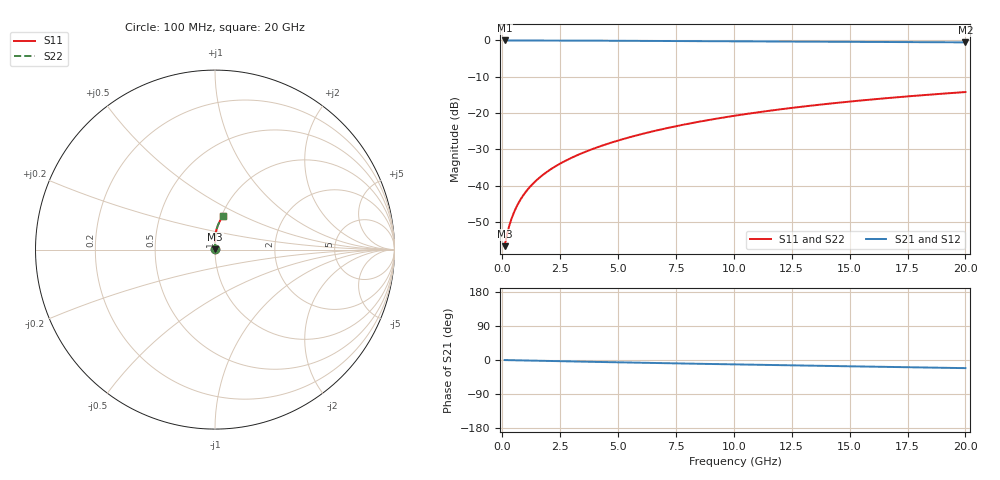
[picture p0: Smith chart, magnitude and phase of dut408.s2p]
! Touchstone file exported from HFSS 2024.1.0
!  File:  C:/UserFiles/LocalFiles/RDL_TSV_Batchsim/temp_RDL_top_408_1779675540.aedt
!  Generated:  10:21:07 AM May 25, 2026
!  Design:  RDL_top
!  Project:  temp_RDL_top_408_1779675540
!  Setup:  Setup1
!  Solution:  Sweep
! Variables:
!  dtsv = 10.80580581um
!  hbump = 3um
!  htsv = 83.25um
!  ldown = 100um
!  lrdl = 308.3um
!  p = 40
!  p1 = 46.08um
!  rhole = 1um
!  t = 450um
!  tdown = 3.915915916um
!  trdl = 4.59um
!  wdown = 15.38538539um
!  wrdl = 24.2um
# GHz S MA R 50.000000
! Terminal data exported
! Port[1] = Box2_T1
! Port[2] = Box2_T2
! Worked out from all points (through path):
!   200 points, 100 MHz to 20 GHz, reference 50 ohm
!   highest |S21| = -0.01 dB at 100 MHz (marker M1); lowest = -0.5 dB at 20 GHz (marker M2)
!   group delay of S21, straight-line fit = 2.94 ps
!   lowest |S11| = -56.6 dB at 100 MHz (marker M3), VSWR 1.00, Z = 50.1 + j0.0911 ohm
!   |S11| at or under -10 dB: start of sweep to end of sweep
!   |S22| runs from -56.6 to -14.2 dB; largest |S21 - S12| = 3.1e-15
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0.1  0.00148 37.9  0.9988 -0.1  0.9988 -0.1  0.00148 37.9
! Gamma 0 0 0 0
! Port Impedance 50 0 50 0
0.2  0.002127 54.1  0.9987 -0.3  0.9987 -0.3  0.002127 54.1
0.3  0.002819 62.8  0.9986 -0.4  0.9986 -0.4  0.002819 62.8
0.4  0.00354 68.3  0.9985 -0.5  0.9985 -0.5  0.003539 68.3
0.5  0.004282 72.1  0.9985 -0.6  0.9985 -0.6  0.004282 72.1
0.6  0.005039 74.9  0.9984 -0.8  0.9984 -0.8  0.005039 74.9
0.8  0.006582 78.6  0.9982 -1.0  0.9982 -1.0  0.006582 78.6
1.1  0.008935 81.8  0.9979 -1.4  0.9979 -1.4  0.008935 81.8
1.5  0.01212 84.3  0.9974 -1.9  0.9974 -1.9  0.01212 84.3
1.8  0.01452 85.6  0.997 -2.3  0.997 -2.3  0.01452 85.6
2.1  0.01695 86.5  0.9965 -2.7  0.9965 -2.7  0.01695 86.5
2.7  0.02189 87.8  0.9952 -3.4  0.9952 -3.4  0.02189 87.8
3.5  0.02864 89.0  0.9932 -4.4  0.9932 -4.4  0.02864 89.0
4.2  0.03475 89.6  0.9912 -5.2  0.9912 -5.2  0.03475 89.6
5  0.04198 90.0  0.9888 -6.1  0.9888 -6.1  0.04198 90.0
6.8  0.05913 90.0  0.9828 -8.2  0.9828 -8.2  0.05913 90.0
8.4  0.07519 89.1  0.9773 -9.9  0.9773 -9.9  0.0752 89.1
10.1  0.09278 87.7  0.9716 -11.7  0.9716 -11.7  0.09279 87.7
11.7  0.1096 86.0  0.9664 -13.3  0.9664 -13.3  0.1096 86.1
13.4  0.1274 84.1  0.961 -15.0  0.961 -15.0  0.1275 84.2
16.7  0.1617 80.3  0.9508 -18.3  0.9508 -18.3  0.1617 80.3
20  0.195 76.4  0.9407 -21.5  0.9407 -21.5  0.195 76.4
